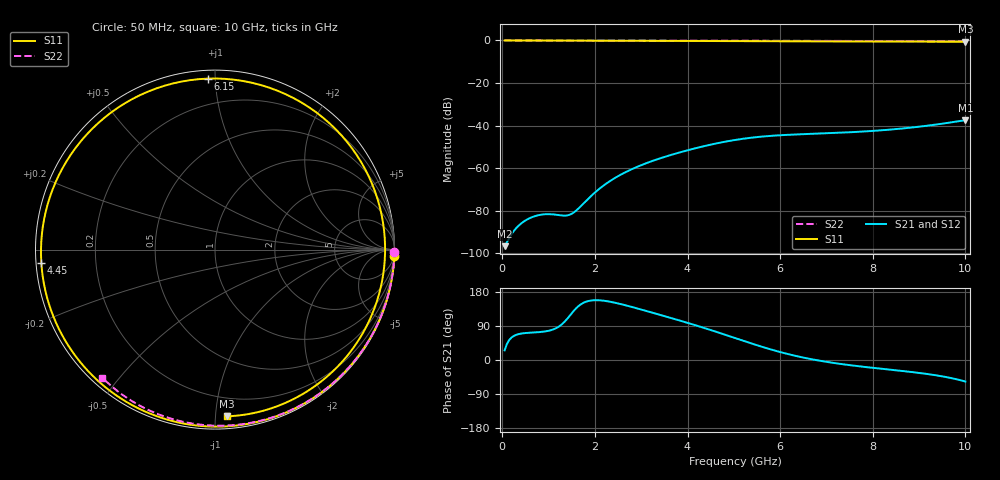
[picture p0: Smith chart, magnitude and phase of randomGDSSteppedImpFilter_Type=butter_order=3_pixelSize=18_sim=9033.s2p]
! freq	dB(S11)	phase(S11)	dB(S12)	phase(S12)
!  dB(S21)	phase(S21)	dB(S22)	phase(S22)
!S-par simulation data
#  GHz  S  DB  R 50
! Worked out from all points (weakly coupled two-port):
!   200 points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, 50 MHz to 10 GHz, reference 50 ohm
!   highest |S21| = -37.48 dB at 10 GHz (marker M1); lowest = -96.7 dB at 50 MHz (marker M2)
!   lowest |S11| = -0.6 dB at 10 GHz (marker M3), VSWR 28.13, Z = 3.82 - j53.6 ohm
!   |S11| at or under -10 dB: nowhere
!   |S22| runs from -0.4 to 0.0 dB; largest |S21 - S12| = 0
!   S11 on the Smith chart (normalised r, x): 50 MHz: 0, -60; 4.45 GHz: 0.02, -0.04; 6.15 GHz: 0.05, +0.96; 10 GHz: 0.08, -1.07
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0.05  -0.00 -1.9  -96.67 25.5  -96.67 25.5  -0.01 -0.7
0.75  -0.04 -28.4  -82.29 73.2  -82.29 73.2  -0.01 -11.3
1.55  -0.07 -58.5  -80.75 130.7  -80.75 130.7  -0.03 -23.3
1.6  -0.08 -60.4  -79.87 137.2  -79.87 137.2  -0.03 -24.0
1.75  -0.08 -66.0  -76.68 150.8  -76.68 150.8  -0.03 -26.2
2.1  -0.10 -79.3  -69.64 157.6  -69.64 157.6  -0.04 -31.3
2.45  -0.12 -92.6  -64.40 150.7  -64.40 150.7  -0.05 -36.4
2.9  -0.15 -110.0  -59.51 136.5  -59.51 136.5  -0.06 -42.8
3.4  -0.18 -129.9  -55.46 119.3  -55.46 119.3  -0.07 -49.9
3.95  -0.22 -153.1  -51.90 99.9  -51.90 99.9  -0.08 -57.5
4.45  -0.26 -175.7  -49.20 81.1  -49.20 81.1  -0.09 -64.3
5.05  -0.32 154.5  -46.68 57.0  -46.68 57.0  -0.11 -72.2
5.65  -0.38 121.6  -45.09 33.2  -45.09 33.2  -0.13 -79.9
6.15  -0.41 92.4  -44.37 16.2  -44.37 16.2  -0.15 -86.2
6.4  -0.43 77.5  -44.12 9.0  -44.12 9.0  -0.16 -89.4
6.7  -0.44 59.6  -43.87 1.5  -43.87 1.5  -0.18 -93.0
7.1  -0.45 36.4  -43.54 -6.8  -43.54 -6.8  -0.20 -97.9
7.5  -0.46 14.4  -43.15 -13.6  -43.15 -13.6  -0.23 -102.7
7.9  -0.47 -6.0  -42.66 -19.3  -42.66 -19.3  -0.25 -107.4
8.35  -0.48 -26.7  -41.94 -25.2  -41.94 -25.2  -0.29 -112.6
9.15  -0.52 -58.4  -40.14 -36.5  -40.14 -36.5  -0.36 -121.8
10  -0.62 -85.9  -37.48 -56.8  -37.48 -56.8  -0.44 -131.4
